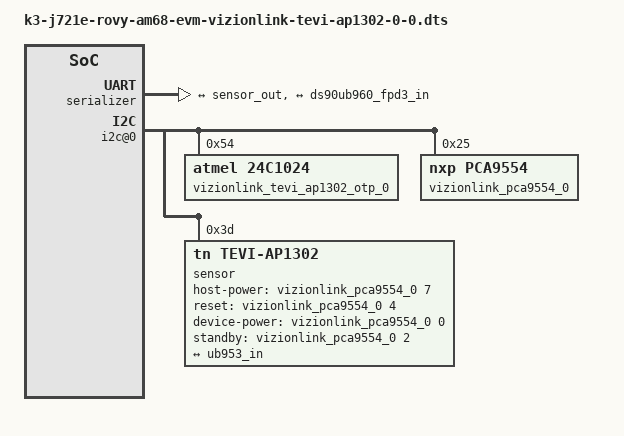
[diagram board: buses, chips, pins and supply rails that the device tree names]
// SPDX-License-Identifier: GPL-2.0
/**
 * DT Overlay for Technexion AR series camera interfaced with CSI2 on ROVY-Nano board.
 *
 * Copyright (C) 2022 Technexion Ltd.
 */

/dts-v1/;
/plugin/;

#include <dt-bindings/gpio/gpio.h>
#include <dt-bindings/interrupt-controller/irq.h>
#include <dt-bindings/pinctrl/k3.h>

&ds90ub960_ports_0 {
	#address-cells = <1>;
	#size-cells = <0>;

	/* FPDLink RX 0 */
	port@0 {
		reg = <0>;

		ds90ub960_fpd3_in: endpoint {
			remote-endpoint = <&ub953_out>;

			mode = <3>;
			bc-freq = <50000000>;
			status = "okay";

			serializer: remote-chip {
				compatible = "ti,ds90ub953-q1";
				clocks = <&ds90ub960_0>;

				gpio-controller;
				#gpio-cells = <2>;

				#clock-cells = <0>;
				ports {
					#address-cells = <1>;
					#size-cells = <0>;

					port@0 {
						reg = <0>;
						ub953_in: endpoint@0 {
							remote-endpoint = <&sensor_out>;
							data-lanes = <2>;
							clock-noncontinuous;
						};
					};

					port@1 {
						reg = <1>;
						ub953_out: endpoint@0 {
							remote-endpoint = <&ds90ub960_fpd3_in>;
						};
					};
				};
			};
		};
	};
};

&ds90ub960_atr_0 {
	#address-cells = <1>;
	#size-cells = <0>;

	i2c@0 {
		reg = <0>;

		#address-cells = <1>;
		#size-cells = <0>;

		vizionlink_tevi_ap1302_otp_0: vizionlink_tevi_ap1302_otp_0@54 {
			compatible = "atmel,24c1024";
			reg = <0x54>;
			pagesize = <128>;
			status = "okay";

		};

		vizionlink_pca9554_0: vizionlink_pca9554_0@25 {
			compatible = "nxp,pca9554";
			reg = <0x25>;
			gpio-controller;
			#gpio-cells = <2>;
			status = "okay";
		};

		sensor@3d {
			compatible = "tn,tevi-ap1302";
			reg = <0x3d>;

			host-power-gpios = <&vizionlink_pca9554_0 7 GPIO_ACTIVE_HIGH>;
			reset-gpios = <&vizionlink_pca9554_0 4 GPIO_ACTIVE_HIGH>;
			device-power-gpios = <&vizionlink_pca9554_0 0 GPIO_ACTIVE_HIGH>;
			standby-gpios = <&vizionlink_pca9554_0 2 GPIO_ACTIVE_HIGH>;

			nvmem = <&vizionlink_tevi_ap1302_otp_0>;
			nvmem-names = "calib-data";
			// pixel-rate = <614304000>; /* 184.29MHz */
			pixel-rate = <400000000>; /* 400.00MHz */
			data-lanes = <2>;
			continuous-clock = <0>;
			status = "okay";

			#address-cells = <1>;
			#size-cells = <0>;

			port@0 {
				reg = <0>;
				sensor_out: endpoint {
					remote-endpoint = <&ub953_in>;
				};
			};
		};
	};
};
